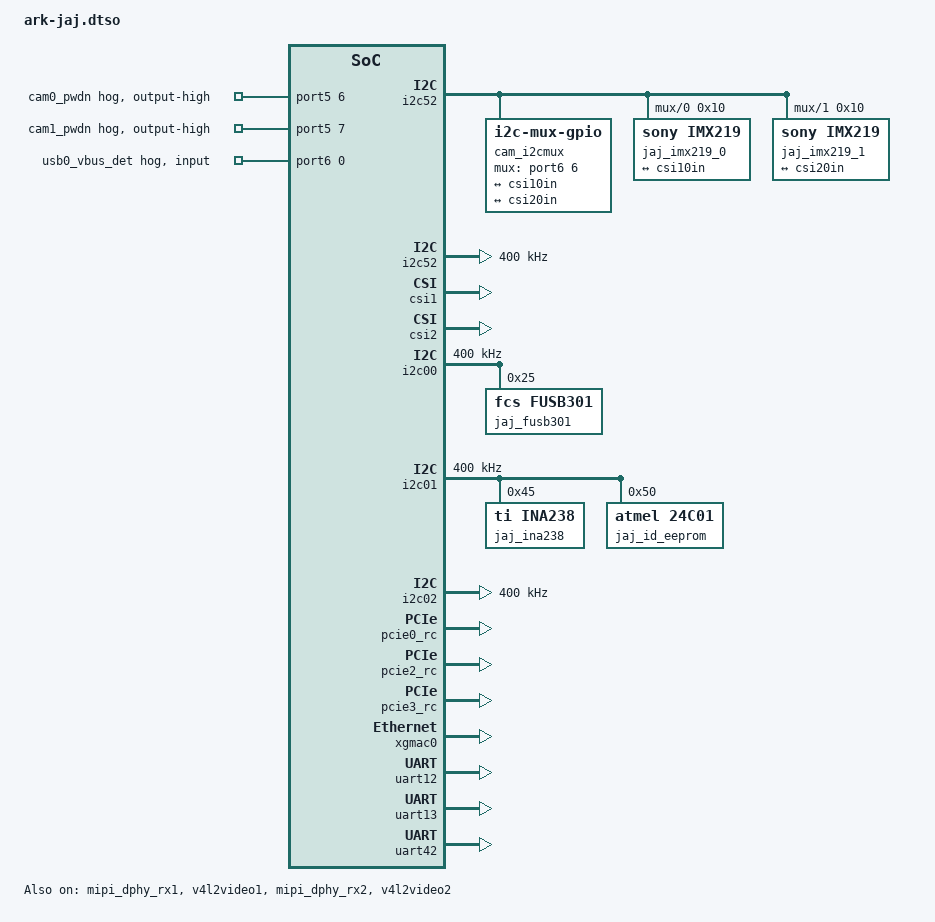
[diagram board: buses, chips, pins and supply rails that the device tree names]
// SPDX-License-Identifier: (GPL-2.0+ OR MIT)
/*
 * ARK Just a Jetson (JAJ) carrier with SiMa.ai Modalix SoM
 *
 * Camera (schematic sheet 10 + Jetson connector sheets 5–7):
 *   - Shared CAM_I2C → FSUSB42UMX mux (U11) → CAM0 / CAM1 @ 0x10
 *   - CAM_MUX_SEL (J26B pin 130 / GPIO06) = port6 GPIO6  [SiMa dual-cam overlays]
 *   - CAM0/CAM1 PWDN enables = port5 GPIO6 + GPIO7 held high
 *   - J28 CAM0 2-lane: CSI1_D0/D1/CLK (D2/D3 = CSI0, 4-lane only)
 *   - J25 CAM1 2-lane: CSI2_D0/D1/CLK (D2/D3 = CSI3, 4-lane only)
 *   - Linux bus: i2c52 = i2c-4 = sio@5/i2c@0x04059000 (chip id 0x0219)
 *
 * UART (Modalix gold finger vs Jetson roles — see docs/bringup-jaj.md):
 *   - UART1 (SODIMM 203/205, SIO1[4]/[5], DT uart12 → ttyS0): generic app UART.
 *     Same net as on-module FTDI (SoM USB-C debug). TX/RX only (no RTS/CTS pinmux).
 *     The JAJ J6 header needs the two data wires SWAPPED vs the silkscreen: every
 *     SIO UART pair is even=RX / odd=TX, so SIO1[5] (=SODIMM 205, JAJ "UART1_RXD",
 *     J6 pin 3) is the SoC's TX and SIO1[4] (=SODIMM 203, J6 pin 2) is its RX.
 *     J6 pin 3 also needs a 3V3 pull-up added: U10 is an LSF0108 pass-FET
 *     translator and JAJ populates one pull-up per channel on the side that
 *     receives, so the net carrying the SoC's TX has its pull-up on the wrong
 *     side and only reaches ~1V8. Nothing here is fixable in DT.
 *   - UART0 (SODIMM 99/101, SIO4[5]/[4], DT uart42 → typically ttyS1): optional
 *     second UART / serial console if you free UART1 from console=ttyS0.
 *     Self-consistent in the DS (TXD on the odd pin) — and it works as labelled.
 *   - UART1 RTS/CTS pins (SODIMM 207/209, SIO1[6]/[7], DT uart13): a SECOND UART
 *     on the same J6 header (pins 5 and 4). RTS/CTS can never work as flow
 *     control here — the SIO UART groups are 2-pin — so these are free, and
 *     uart13 gives J6 a dedicated port with no console and no on-module FTDI
 *     sharing the net.
 *   - UART_B (SODIMM 236/238, JAJ silk “UART2”): tRoot only, not a Linux tty.
 *
 * USB-C: FUSB301 @ i2c00 0x25 (see ark-jaj-usb-init.sh for dual-role)
 *
 * I2C (005-HW-32 Table 2-8 — module level-shifts I2C0/I2C1 to 3.3 V open-drain):
 *   - I2C0: SODIMM 185 SCL / 187 SDA = SIO0[0]/[1] → DT &i2c00 (typically /dev/i2c-0)
 *     JAJ: 3.3 V pull-ups; J36 pins 4/5 (silk UART2/I2C0) as I2C0_SCL/SDA_EXT;
 *     also the Jetson-style 40-pin I2C0 pair (DevKit names pins 27/28).
 *     FUSB301 @ 0x25 lives on this controller in stock Modalix DT — expect 0x25 on
 *     i2cdetect for i2c00 even with nothing on the carrier header.
 *   - I2C1: SODIMM 189 SCL / 191 SDA = SIO0[2]/[3] → DT &i2c01 (typically /dev/i2c-1)
 *     JAJ: 2.2 kΩ to 3.3 V; Jetson-style 40-pin I2C1 (DevKit names pins 3/5).
 *     Do NOT load SiMa modalix-som-devkit-uart01 (re-muxes those pins as UART).
 *   - CAM_I2C: separate bus i2c52 (/dev/i2c-4) → FSUSB42 → dual IMX219 @ 0x10
 *   - I2C2: SODIMM 232/234 @ 1.8 V (not level-shifted like 0/1) — &i2c02 enabled
 *     for completeness; not the primary carrier test path.
 *
 * Bench: scripts/i2c-jaj-test.sh  (see docs/bringup-jaj.md § I2C0 / I2C1)
 */

/dts-v1/;
/plugin/;

&{/} {
	model = "ARK Just a Jetson with SiMa Modalix SoM";
	compatible = "ark,just-a-jetson", "simaai,modalix-som", "simaai,modalix";

	jaj_xclk0: jaj-xclk0 {
		compatible = "fixed-clock";
		#clock-cells = <0>;
		clock-frequency = <24000000>;
		status = "okay";
	};

	jaj_xclk1: jaj-xclk1 {
		compatible = "fixed-clock";
		#clock-cells = <0>;
		clock-frequency = <24000000>;
		status = "okay";
	};

	ark_jaj {
		compatible = "ark,just-a-jetson";
		status = "okay";
	};

	/*
	 * GPIO I2C mux for dual IMX219 (same address 0x10 on CAM_I2C).
	 * Must be a root node with i2c-parent, not a child of i2c52.
	 */
	cam_i2cmux: i2cmux {
		compatible = "i2c-mux-gpio";
		#address-cells = <1>;
		#size-cells = <0>;
		i2c-parent = <&i2c52>;
		/* CAM_MUX_SEL: Jetson GPIO06 → Modalix port6 line 6 (SiMa dual-cam DT) */
		mux-gpios = <&port6 6 0>;
		idle-state = <0>;

		/* CAM0 — CSI1 / J28 (CSI1_D0/D1/CLK) */
		i2c@0 {
			reg = <0>;
			#address-cells = <1>;
			#size-cells = <0>;

			jaj_imx219_0: imx219@10 {
				compatible = "sony,imx219";
				reg = <0x10>;
				status = "okay";
				clocks = <&jaj_xclk0>;
				clock-names = "xclk";
				rotation = <180>;
				orientation = <2>;

				port {
					jaj_cam0_ep: endpoint {
						clock-lanes = <0>;
						data-lanes = <1 2>;
						link-frequencies = /bits/ 64 <456000000>;
						remote-endpoint = <&csi10in>;
						clock-noncontinuous;
					};
				};
			};
		};

		/* CAM1 — CSI2 / J25 (CSI2_D0/D1/CLK) */
		i2c@1 {
			reg = <1>;
			#address-cells = <1>;
			#size-cells = <0>;

			jaj_imx219_1: imx219@10 {
				compatible = "sony,imx219";
				reg = <0x10>;
				status = "okay";
				clocks = <&jaj_xclk1>;
				clock-names = "xclk";
				rotation = <180>;
				orientation = <2>;

				port {
					jaj_cam1_ep: endpoint {
						clock-lanes = <0>;
						data-lanes = <1 2>;
						link-frequencies = /bits/ 64 <456000000>;
						remote-endpoint = <&csi20in>;
						clock-noncontinuous;
					};
				};
			};
		};
	};
};

/* ---- PWDN enables (port5); CAM_MUX_SEL is owned by i2c-mux-gpio on port6 ---- */

&port5 {
	/* Match SiMa dual-cam overlays: port5 GPIO6/7 = camera powerdown enables */
	cam0-pwdn-en {
		gpio-hog;
		gpios = <6 0>;
		output-high;
		line-name = "cam0_pwdn";
	};

	cam1-pwdn-en {
		gpio-hog;
		gpios = <7 0>;
		output-high;
		line-name = "cam1_pwdn";
	};
};

/*
 * USB0_VBUS_DETn (SODIMM 87 = SoM GPIO00_VBUS_DET) — input with a pull-up.
 *
 * JAJ drives this net from the FUSB301's open-drain INT_N (U24 pin 10) and leaves
 * R70 — the 47k pull-up to 1V8 — DNP, because a Jetson SoM presents that pin as an
 * input with an internal pull-up and the external one is redundant. Modalix does
 * not: the SoM DTS hogs SIO6[0] as `output-low` under the name "usb_uart60", so the
 * module drives the net low and can never read it. With the hog removed and nothing
 * pulling the net, an open-drain driver has no valid high either.
 *
 * So: drop the hog and bias the pad up, which is what the carrier already expects.
 * The net then means what it says — released = 1 (no pending event), INT_N asserted
 * = 0. Note JAJ names it active low (`..._DETn`) while the SoM pin name implies
 * active high, and that INT_N is an *interrupt*, not a VBUS level: it latches on
 * attach/detach and stays low until someone reads FUSB301 register 0x13. Read VBUS
 * state from STATUS (0x11) bit 3 over I2C, not from this pin.
 *
 * GPIO00's SIO assignment is not in the SoM data sheet (Table 3-2 starts at GPIO01 =
 * SIO6[1]); SIO6[0] follows that table's GPIO0x = SIO6[x] pattern and is confirmed on
 * hardware by the pin tracking INT_N. See docs/bringup-jaj.md.
 */
&{/sio@6/gpio@0x04061000/gpio@0/uart-hog} {
	status = "disabled";
};

&pins_gpio60_deafult {		/* SiMa's spelling; label is "deafult" in modalix-som.dtsi */
	bias-pull-up;
	input-enable;
};

&port6 {
	gpio-line-names =
		"usb0_vbus_det",	/* SODIMM 87  — FUSB301 INT_N, open drain, pulled up here */
		"gpio01",
		"gpio02",
		"gpio03",
		"gpio04",
		"gpio05",
		"cam_mux_sel",		/* SODIMM 130 — FSUSB42 select, owned by cam_i2cmux */
		"gpio07";

	/*
	 * Claim SIO6[0] as an input. Disabling the SoM's output-low hog is not enough:
	 * the DesignWare GPIO's direction register keeps whatever the previous boot
	 * stage left in it, and the kernel driver does not reset it — measured
	 * SWPORTA_DDR bit0 still set (output) with no hog in sight. An `input` hog
	 * makes the GPIO core drive the direction to input at probe.
	 */
	usb0-vbus-det-hog {
		gpio-hog;
		gpios = <0 0>;
		input;
		line-name = "usb0_vbus_det";
	};
};

/* Parent bus for CAM_I2C (SoM → FSUSB42 mux → both cameras) */
&i2c52 {
	status = "okay";
	clock-frequency = <400000>;
};

/* ---- CSI1 (CAM0/J28) + CSI2 (CAM1/J25) pipelines ---- */
/* CSI0 unused on JAJ for dual IMX219 (no connector to CSI0 lanes). */

&csi0 {
	status = "disabled";
};

&csi1 {
	status = "okay";
};

&axi_vdma1 {
	status = "okay";
};

&mipi_dphy_rx1 {
	status = "okay";
};

&v4l2video1 {
	status = "okay";
};

&v4l2vdma1 {
	status = "okay";
};

&csi10in {
	clock-lanes = <0>;
	data-lanes = <1 2>;
	link-frequencies = /bits/ 64 <456000000>;
	remote-endpoint = <&jaj_cam0_ep>;
	clock-noncontinuous;
};

&csi2 {
	status = "okay";
};

&axi_vdma2 {
	status = "okay";
};

&mipi_dphy_rx2 {
	status = "okay";
};

&v4l2video2 {
	status = "okay";
};

&v4l2vdma2 {
	status = "okay";
};

&csi20in {
	clock-lanes = <0>;
	data-lanes = <1 2>;
	link-frequencies = /bits/ 64 <456000000>;
	remote-endpoint = <&jaj_cam1_ep>;
	clock-noncontinuous;
};

/* ---- Remove old wrong sensors on i2c00/i2c01 if re-applied ---- */
/* (fresh overlay replaces nodes only for targets we touch) */

/*
 * Gold-finger I2C0 (SIO0 pins 0–1). Stock Modalix also places FUSB301 here.
 * Keep 400 kHz; external EEPROMs/sensors on J36 or 40-pin I2C0 share this bus.
 */
&i2c00 {
	status = "okay";
	clock-frequency = <400000>;
	#address-cells = <1>;
	#size-cells = <0>;

	jaj_fusb301: fusb301@25 {
		compatible = "fcs,fusb301", "onnn,fusb301";
		reg = <0x25>;
		status = "okay";

		connector {
			compatible = "usb-c-connector";
			label = "USB-C";
			data-role = "dual";
			power-role = "dual";
			try-power-role = "source";
		};
	};
};

/*
 * Gold-finger I2C1 (SIO0 pins 2–3) — carrier / 40-pin I2C1.
 * Must stay I2C function (not uart01 alternate overlay).
 *
 * On-board:
 *   INA238 @ 0x45 (A0=A1=1) — VBAT power monitor, R14 = 1 mΩ shunt
 *   AT24CSW010 @ 0x50 (+ security 0x58) — unique ID for board serial
 * Kernel: prefer CONFIG_SENSORS_INA238; until then userspace
 *   scripts/ark-jaj-sys-power.py → /run/ark-jaj/sys-power/
 */
&i2c01 {
	status = "okay";
	clock-frequency = <400000>;
	#address-cells = <1>;
	#size-cells = <0>;

	/* shunt-resistor is in micro-ohms (1 mΩ = 1000) */
	jaj_ina238: ina238@45 {
		compatible = "ti,ina238";
		reg = <0x45>;
		shunt-resistor = <1000>;
		status = "okay";
	};

	/*
	 * Memory at 0x50; factory serial is on the security address 0x58
	 * (see ark-jaj-sys-power.py). at24 binds the memory window.
	 */
	jaj_id_eeprom: eeprom@50 {
		compatible = "atmel,24c01";
		reg = <0x50>;
		pagesize = <16>;
		size = <128>;
		status = "okay";
	};
};

/* I2C2 gold finger @ 1.8 V (SIO0 pins 4–5) — optional; primary tests use 0/1 */
&i2c02 {
	status = "okay";
	clock-frequency = <400000>;
};

&pcie0_rc {
	status = "okay";
};

&pcie2_rc {
	status = "okay";
};

&pcie3_rc {
	status = "okay";
};

&xgmac0 {
	status = "okay";
};

/*
 * UART1 — generic (application) serial.
 * SoC: uart12 @ 0x0401a000, pinctrl uart2_group = SIO1 pins 4–5 (TX/RX only).
 * Electrically shared with SoM on-module FTDI (USB-C). Stock images also use this
 * as console=ttyS0; move console to UART0 (uart42) or drop serial console to use
 * exclusively from userspace (see docs/bringup-jaj.md).
 *
 * On the JAJ J6 header this pair is reversed relative to the silkscreen — host TX
 * goes to J6 pin 2 and host RX to J6 pin 3, plus a 3V3 pull-up on pin 3.
 */
&uart12 {
	status = "okay";
};

/*
 * Second UART on the JAJ UART1 header (J6 pins 5 and 4).
 * SoC: uart13 @ 0x0401c000, pinctrl uart3_group = SIO1 pins 6–7 → SODIMM 207/209,
 * which JAJ wires as UART1_RTS#/UART1_CTS# to J6 pin 5 / pin 4.
 *
 * Those pins are dead weight otherwise: a SIO UART group is only 2 pins wide, so
 * the controller has no RTS/CTS to put there and `crtscts` can never work. Enabling
 * uart13 turns them into a real port, and unlike uart12 it carries no console, no
 * getty, and no on-module FT230X in parallel on the net.
 *
 * Direction on J6 follows the same even=RX / odd=TX rule, so SIO1[7] is the TX pad.
 * Confirm which J6 pin it lands on before wiring; if the SoC's TX lands on pin 4,
 * that net needs a 3V3 pull-up added for the same LSF0108 reason as pin 3, while
 * pin 5 already has one (R60). See docs/bringup-jaj.md.
 */
&uart13 {
	status = "okay";
};

/*
 * Pin the ttyS numbering. Without serialN aliases the 8250 line number comes from
 * probe order, so adding uart13 (sio@1, after uart12) would have pushed UART0 from
 * /dev/ttyS1 to /dev/ttyS2 and quietly broken every "UART0 = ttyS1" reference —
 * including console=ttyS1 in the "free UART1 from console" procedure.
 *
 * Alias values must be literal path strings: an overlay cannot resolve &label to a
 * path at compile time (dtc emits a phandle, which /aliases cannot hold).
 */
&{/aliases} {
	/* UART1 → /dev/ttyS0 (console; SoM USB-C + J6 pins 2/3) */
	serial0 = "/sio@1/uart@0x0401a000";
	/* UART0 → /dev/ttyS1 (J5 header; verified TX+RX) */
	serial1 = "/sio@4/uart@0x0404a000";
	/* UART1 RTS/CTS pins → /dev/ttyS2 (J6 pins 5/4) */
	serial2 = "/sio@1/uart@0x0401c000";
};

/*
 * UART0 — second general-purpose UART on JAJ (header near UART0 silk / 3.3 V side).
 * SoC: uart42 @ 0x0404a000, SIO4 pins 4–5. Enable for console=ttyS1 when UART1
 * is reserved for an application.
 */
&uart42 {
	status = "okay";
};
